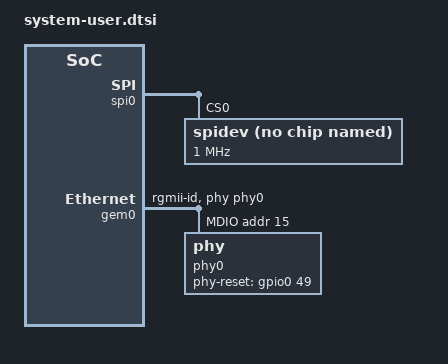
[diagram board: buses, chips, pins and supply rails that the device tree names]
/include/ "system-conf.dtsi"
/ {
	dma_proxy {
		compatible = "xlnx,dma_proxy";
		dmas = <&axi_dma_0 1
			&axi_dma_1 0
			&axi_dma_2 0>;
		dma-names = "dma_ltc_rx", "dma_max_tx", "dma_bs_tx";
	};
};

&spi0 {
  is-decoded-cs = <0>;
  num-cs = <1>;
  status = "okay";
  spidev@0x00 {
    compatible = "spidev";
    spi-max-frequency = <1000000>;
    reg = <0>;
  };
};


/* ETH PHY */
&gem0 {
    status = "okay";
    phy-mode = "rgmii-id";
    phy-handle = <&phy0>;
    
    mdio {
        phy0: phy@f {
            pinctrl-names = "default";
            phy-reset-gpio = <&gpio0 49 0>;
	    phy-reset-active-low;
	        
            device_type = "ethernet-phy";
            reg = <0x0F>;
            ti,rx-internal-delay = <0x8>; 
            ti,tx-internal-delay = <0xa>; 
            ti,fifo-depth = <0x01>;
            ti,dp83867-rxctrl-strap-quirk;
        };
    };
};

&amba {
	ptm@f889d000 {
		cpu = <&cpu0>;
	};
};

/*
&amba_pl {
	axi_quad_spi@41e00000 {
		bits-per-word = <0x8>;
		compatible = "xlnx,axi-quad-spi-3.2", "xlnx,xps-spi-2.00.a";
		fifo-size = <16>;
		num-cs = <1>;
		reg = < 0x41e00000 0x10000 >;
		num-transfer-bits = <0x8>;
		xlnx,spi-mode = <0>;
		status = "okay";
		#address-cells = <0x1>; 
		#size-cells = <0x0>; 
		
		spidev@0 {
		    compatible = "spidev";
		    spi-max-frequency = <10000000>;
		    reg = <0>;
		};
	} ;
};
*/

